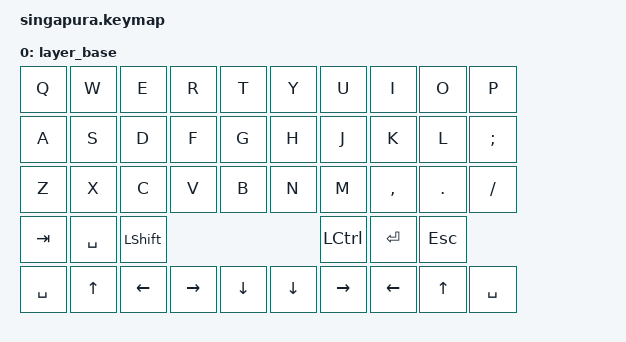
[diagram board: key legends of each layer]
// Copyright 2023 saikocat (@saikocat)
// SPDX-License-Identifier: MIT

#include <behaviors.dtsi>
#include <dt-bindings/zmk/keys.h>
#include <dt-bindings/zmk/bt.h>

#ifdef CONFIG_ZMK_DISPLAY
&nice_view_spi {
    cs-gpios = <&pro_micro 10 GPIO_ACTIVE_HIGH>;
};
#endif

/ {
    combos {
        compatible = "zmk,combos";
        combo_esc {
            timeout-ms = <50>;
            key-positions = <0 1>;
            bindings = <&kp ESC>;
        };
    };

    keymap {
        compatible = "zmk,keymap";

        layer_base {
            bindings = <
                   &kp Q &kp W &kp E &kp R &kp T     &kp Y &kp U  &kp I     &kp O   &kp P
                   &kp A &kp S &kp D &kp F &kp G     &kp H &kp J  &kp K     &kp L   &kp SEMI
                   &kp Z &kp X &kp C &kp V &kp B     &kp N &kp M  &kp COMMA &kp DOT &kp FSLH
                     &kp TAB &kp SPACE &kp LSHFT     &kp LCTRL &kp RET &kp ESC
    &kp SPACE &kp UP &kp LEFT &kp RIGHT &kp DOWN     &kp DOWN &kp RIGHT &kp LEFT &kp UP &kp SPACE
            >;
        };
    };
};

// vim: ft=dts et
